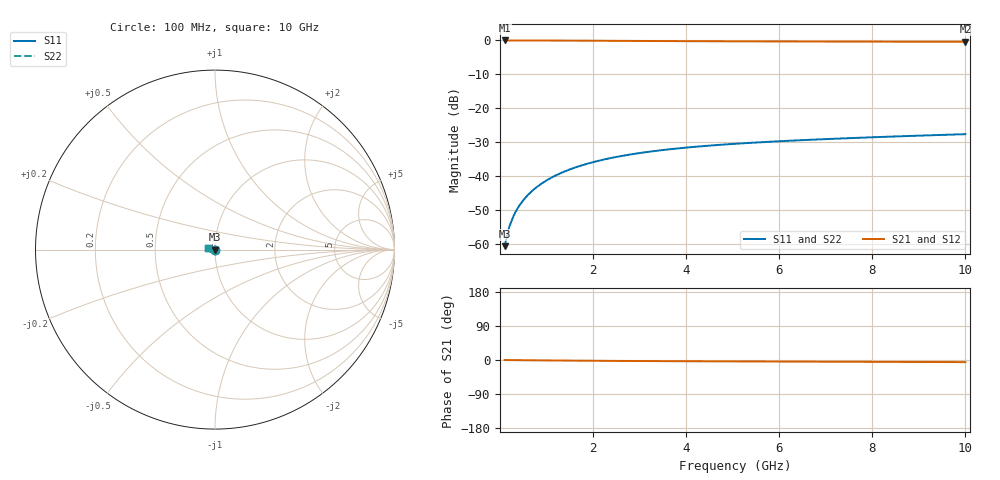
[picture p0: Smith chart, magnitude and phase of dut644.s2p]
! Touchstone file exported from HFSS 2024.1.0
!  File:  C:/UserFiles/LocalFiles/RDL_TSV_Batchsim/temp_TSV1_644_1779791457.aedt
!  Generated:  06:35:34 PM May 26, 2026
!  Design:  TSV1
!  Project:  temp_TSV1_644_1779791457
!  Setup:  Setup1
!  Solution:  Sweep
! Variables:
!  dtsv = 7um
!  hbump = 3um
!  htsv = 86.95um
!  lrdl = 252.1521522um
!  p = 40
!  p1 = 45.16um
!  t = 500um
!  trdl = 3um
!  wrdl = 24.89489489um
# GHz S MA R 50.000000
! Terminal data exported
! Port[1] = TSV22_T1
! Port[2] = TSV22_T2
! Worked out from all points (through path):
!   100 points, 100 MHz to 10 GHz, reference 50 ohm
!   highest |S21| = 0.00 dB at 100 MHz (marker M1); lowest = -0.4 dB at 10 GHz (marker M2)
!   lowest |S11| = -60.7 dB at 100 MHz (marker M3), VSWR 1.00, Z = 50 - j0.0883 ohm
!   |S11| at or under -10 dB: start of sweep to end of sweep
!   |S22| runs from -60.7 to -27.6 dB; largest |S21 - S12| = 4.5e-15
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0.1  0.0009263 -72.3  0.9997 -0.1  0.9997 -0.1  0.0009263 -72.3
! Gamma 0 0 0 0
! Port Impedance 50 0 50 0
0.2  0.00179 -83.6  0.9996 -0.2  0.9996 -0.2  0.00179 -83.6
0.3  0.002665 -88.7  0.9994 -0.3  0.9994 -0.3  0.002665 -88.7
0.4  0.003538 -92.2  0.9992 -0.5  0.9992 -0.5  0.003538 -92.2
0.5  0.004407 -95.0  0.9989 -0.6  0.9989 -0.6  0.004407 -95.0
0.6  0.00527 -97.5  0.9986 -0.7  0.9986 -0.7  0.00527 -97.5
0.7  0.006124 -99.8  0.9983 -0.8  0.9983 -0.8  0.006124 -99.8
0.8  0.006969 -101.9  0.9979 -0.9  0.9979 -0.9  0.006969 -101.9
0.9  0.007803 -103.9  0.9974 -1.0  0.9974 -1.0  0.007803 -103.9
1.1  0.009436 -107.8  0.9964 -1.2  0.9964 -1.2  0.009436 -107.8
1.4  0.01178 -113.3  0.9946 -1.5  0.9946 -1.5  0.01178 -113.3
1.6  0.01327 -116.8  0.9933 -1.7  0.9933 -1.7  0.01327 -116.8
1.8  0.01469 -120.1  0.9919 -1.9  0.9919 -1.9  0.01469 -120.1
2.1  0.0167 -124.9  0.9897 -2.1  0.9897 -2.1  0.0167 -124.9
2.5  0.01915 -131.0  0.9866 -2.4  0.9866 -2.4  0.01915 -131.0
2.9  0.02135 -136.6  0.9836 -2.7  0.9836 -2.7  0.02135 -136.6
3.4  0.02378 -143.0  0.9801 -2.9  0.9801 -2.9  0.02378 -143.0
4.2  0.02705 -152.2  0.9749 -3.3  0.9749 -3.3  0.02705 -152.2
5.1  0.03007 -161.2  0.9701 -3.7  0.9701 -3.7  0.03007 -161.2
6.7  0.03438 -174.5  0.9638 -4.4  0.9638 -4.4  0.03438 -174.5
8.4  0.0382 174.1  0.9592 -5.0  0.9592 -5.0  0.0382 174.1
10  0.04151 165.1  0.9562 -5.6  0.9562 -5.6  0.04151 165.1
